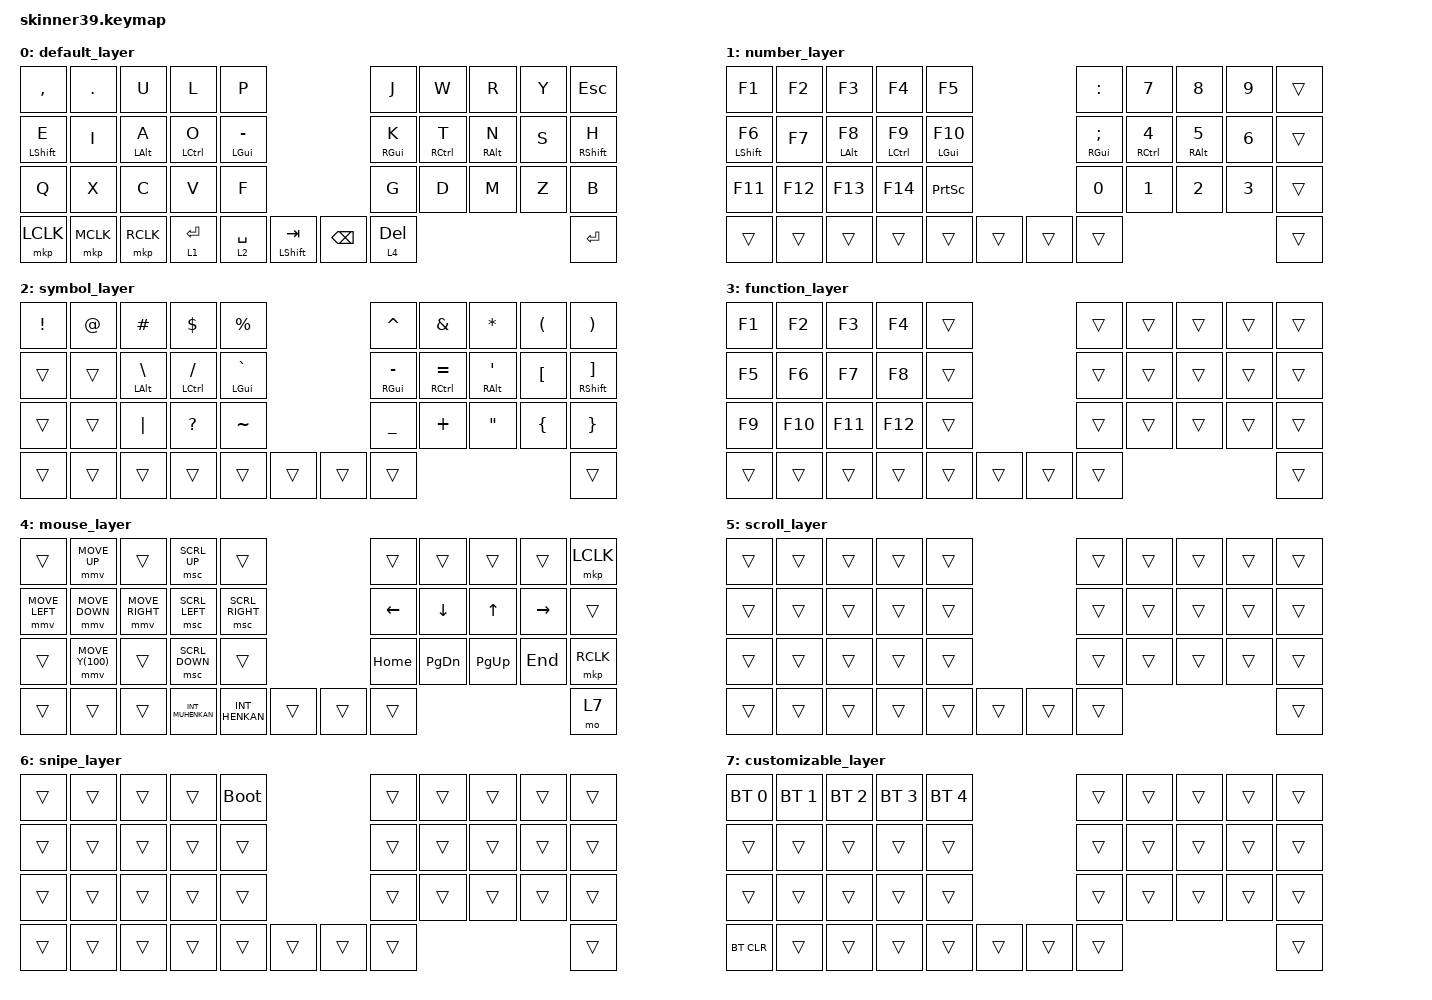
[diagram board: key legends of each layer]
#include <behaviors.dtsi>
#include <dt-bindings/zmk/bt.h>
#include <dt-bindings/zmk/keys.h>
#include <dt-bindings/zmk/pointing.h>

&mmv {
    time-to-max-speed-ms = <200>;
    acceleration-exponent = <2>;
};

&mt {
    retro-tap;
    flavor = "balanced";
};

/ {
    keymap {
        compatible = "zmk,keymap";

        default_layer {
            bindings = <
  &kp COMMA    &kp PERIOD  &kp U           &kp L        &kp P                                         &kp J       &kp W        &kp R       &kp Y  &kp ESCAPE
  &mt LSHFT E  &kp I       &mt LALT A  &mt LCTRL O  &mt LGUI MINUS                                &mt RGUI K  &mt RCTRL T  &mt RALT N  &kp S  &mt RSHIFT H
  &kp Q        &kp X       &kp C           &kp V        &kp F                                         &kp G       &kp D        &kp M       &kp Z  &kp B
  &mkp LCLK    &mkp MCLK   &mkp RCLK       &lt 1 ENTER  &lt 2 SPACE     &mt LSHFT TAB  &kp BACKSPACE  &lt 4 DEL                                   &kp ENTER
            >;
        };

        number_layer {
            bindings = <
  &kp F1        &kp F2   &kp F3       &kp F4        &kp F5                           &kp COLON           &kp NUMBER_7        &kp NUMBER_8  &kp NUMBER_9  &trans
  &mt LSHFT F6  &kp F7   &mt LALT F8  &mt LCTRL F9  &mt LGUI F10                     &mt RGUI SEMICOLON  &mt RCTRL NUMBER_4  &mt RALT N5   &kp NUMBER_6  &trans
  &kp F11       &kp F12  &kp F13      &kp F14       &kp PRINTSCREEN                  &kp N0              &kp NUMBER_1        &kp N2        &kp NUMBER_3  &trans
  &trans        &trans   &trans       &trans        &trans           &trans  &trans  &trans                                                              &trans
            >;
        };

        symbol_layer {
            bindings = <
  &kp EXCLAMATION  &kp AT_SIGN  &kp HASH                &kp DOLLAR       &kp PERCENT                     &kp CARET       &kp AMPERSAND    &kp ASTERISK       &kp LEFT_PARENTHESIS  &kp RIGHT_PARENTHESIS
  &trans           &trans       &mt LALT BACKSLASH  &mt LCTRL SLASH  &mt LGUI GRAVE                  &mt RGUI MINUS  &mt RCTRL EQUAL  &mt RALT SQT       &kp LEFT_BRACKET      &mt RSHFT RIGHT_BRACKET
  &trans           &trans       &kp PIPE                &kp QUESTION     &kp TILDE                       &kp UNDERSCORE  &kp PLUS         &kp DOUBLE_QUOTES  &kp LEFT_BRACE        &kp RIGHT_BRACE
  &trans           &trans       &trans                  &trans           &trans          &trans  &trans  &trans                                                                    &trans
            >;
        };

        function_layer {
            bindings = <
  &kp F1  &kp F2   &kp F3   &kp F4   &trans                  &trans  &trans  &trans  &trans  &trans
  &kp F5  &kp F6   &kp F7   &kp F8   &trans                  &trans  &trans  &trans  &trans  &trans
  &kp F9  &kp F10  &kp F11  &kp F12  &trans                  &trans  &trans  &trans  &trans  &trans
  &trans  &trans   &trans   &trans   &trans  &trans  &trans  &trans                          &trans
            >;
        };

        mouse_layer {
            bindings = <
  &trans          &mmv MOVE_UP      &trans           &msc SCRL_UP      &trans                           &trans          &trans         &trans        &trans     &mkp LCLK
  &mmv MOVE_LEFT  &mmv MOVE_DOWN    &mmv MOVE_RIGHT  &msc SCRL_LEFT    &msc SCRL_RIGHT                  &kp LEFT_ARROW  &kp DOWN       &kp UP_ARROW  &kp RIGHT  &trans
  &trans          &mmv MOVE_Y(100)  &trans           &msc SCRL_DOWN    &trans                           &kp HOME        &kp PAGE_DOWN  &kp PAGE_UP   &kp END    &mkp RCLK
  &trans          &trans            &trans           &kp INT_MUHENKAN  &kp INT_HENKAN   &trans  &trans  &trans                                                  &mo 7
            >;
        };

        scroll_layer {
            bindings = <
  &trans  &trans  &trans  &trans  &trans                  &trans  &trans  &trans  &trans  &trans
  &trans  &trans  &trans  &trans  &trans                  &trans  &trans  &trans  &trans  &trans
  &trans  &trans  &trans  &trans  &trans                  &trans  &trans  &trans  &trans  &trans
  &trans  &trans  &trans  &trans  &trans  &trans  &trans  &trans                          &trans
            >;
        };

        snipe_layer {
            bindings = <
  &trans  &trans  &trans  &trans  &bootloader                  &trans  &trans  &trans  &trans  &trans
  &trans  &trans  &trans  &trans  &trans                       &trans  &trans  &trans  &trans  &trans
  &trans  &trans  &trans  &trans  &trans                       &trans  &trans  &trans  &trans  &trans
  &trans  &trans  &trans  &trans  &trans       &trans  &trans  &trans                          &trans
            >;
        };

        customizable_layer {
            bindings = <
  &bt BT_SEL 0  &bt BT_SEL 1  &bt BT_SEL 2  &bt BT_SEL 3  &bt BT_SEL 4                  &trans  &trans  &trans  &trans  &trans
  &trans        &trans        &trans        &trans        &trans                        &trans  &trans  &trans  &trans  &trans
  &trans        &trans        &trans        &trans        &trans                        &trans  &trans  &trans  &trans  &trans
  &bt BT_CLR    &trans        &trans        &trans        &trans        &trans  &trans  &trans                          &trans
            >;
        };
    };
};
